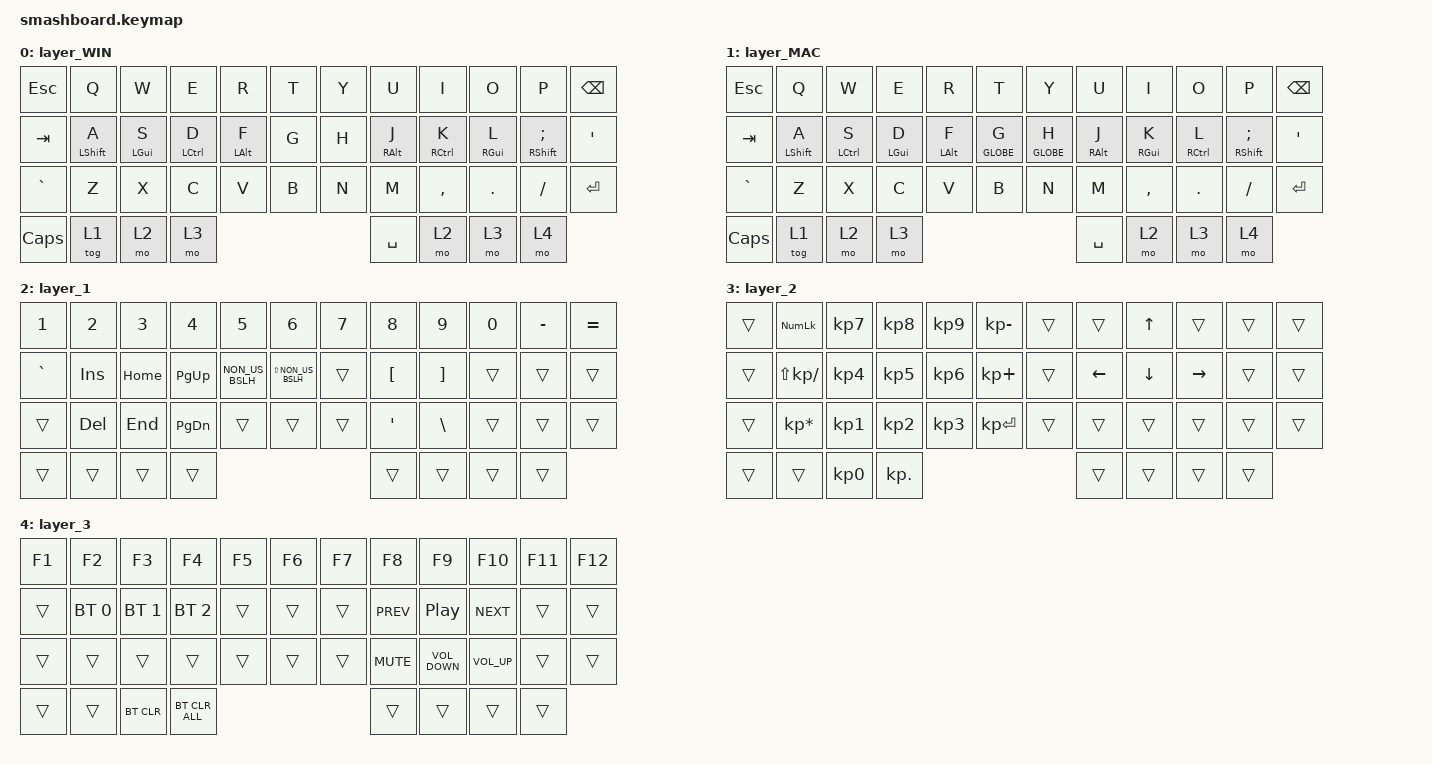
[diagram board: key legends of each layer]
#include <behaviors.dtsi>
#include <dt-bindings/zmk/bt.h>
#include <dt-bindings/zmk/keys.h>

&mt { flavor = "tap-preferred"; };

/ {
    keymap {
        compatible = "zmk,keymap";

        layer_WIN {
            bindings = <
&kp ESC    &kp Q             &kp W           &kp E               &kp R           &kp T    &kp Y  &kp U            &kp I                &kp O            &kp P                 &kp BSPC
&kp TAB    &mt LEFT_SHIFT A  &mt LEFT_GUI S  &mt LEFT_CONTROL D  &mt LEFT_ALT F  &kp G    &kp H  &mt RIGHT_ALT J  &mt RIGHT_CONTROL K  &mt RIGHT_GUI L  &mt RIGHT_SHIFT SEMI  &kp APOS
&kp GRAVE  &kp Z             &kp X           &kp C               &kp V           &kp B    &kp N  &kp M            &kp COMMA            &kp DOT          &kp SLASH             &kp ENTER
&kp CAPS   &tog 1              &mo 2           &mo 3                                               &kp SPACE        &mo 2                &mo 3            &mo 4
            >;
        };

        layer_MAC {
            bindings = <
&kp ESC    &kp Q             &kp W               &kp E           &kp R           &kp T          &kp Y        &kp U            &kp I            &kp O                &kp P                 &kp BSPC
&kp TAB    &mt LEFT_SHIFT A  &mt LEFT_CONTROL S  &mt LEFT_GUI D  &mt LEFT_ALT F  &mt GLOBE G    &mt GLOBE H  &mt RIGHT_ALT J  &mt RIGHT_GUI K  &mt RIGHT_CONTROL L  &mt RIGHT_SHIFT SEMI  &kp APOS
&kp GRAVE  &kp Z             &kp X               &kp C           &kp V           &kp B          &kp N        &kp M            &kp COMMA        &kp DOT              &kp SLASH             &kp ENTER
&kp CAPS   &tog 1            &mo 2               &mo 3                                                       &kp SPACE        &mo 2            &mo 3                &mo 4
            >;
        };

        layer_1 {
            bindings = <
&kp N1     &kp N2      &kp N3    &kp N4         &kp N5           &kp N6                 &kp N7  &kp N8    &kp N9    &kp N0  &kp MINUS  &kp EQUAL
&kp GRAVE  &kp INSERT  &kp HOME  &kp PAGE_UP    &kp NON_US_BSLH  &kp LS(NON_US_BSLH)    &trans  &kp LBKT  &kp RBKT  &trans  &trans     &trans
&trans     &kp DEL     &kp END   &kp PAGE_DOWN  &trans           &trans                 &trans  &kp APOS  &kp BSLH  &trans  &trans     &trans
&trans     &trans      &trans    &trans                                                         &trans    &trans    &trans  &trans
            >;
        };

        layer_2 {
            bindings = <
&trans  &kp KP_NLCK        &kp KP_NUMBER_7  &kp KP_NUMBER_8  &kp KP_NUMBER_9  &kp KP_MINUS    &trans  &trans          &kp UP_ARROW    &trans           &trans  &trans
&trans  &kp LS(KP_DIVIDE)  &kp KP_NUMBER_4  &kp KP_NUMBER_5  &kp KP_NUMBER_6  &kp KP_PLUS     &trans  &kp LEFT_ARROW  &kp DOWN_ARROW  &kp RIGHT_ARROW  &trans  &trans
&trans  &kp KP_MULTIPLY    &kp KP_NUMBER_1  &kp KP_NUMBER_2  &kp KP_NUMBER_3  &kp KP_ENTER    &trans  &trans          &trans          &trans           &trans  &trans
&trans  &trans             &kp KP_N0        &kp KP_DOT                                                &trans          &trans          &trans           &trans
            >;
        };

        layer_3 {
            bindings = <
&kp F1  &kp F2        &kp F3        &kp F4          &kp F5  &kp F6    &kp F7  &kp F8      &kp F9             &kp F10          &kp F11  &kp F12
&trans  &bt BT_SEL 0  &bt BT_SEL 1  &bt BT_SEL 2    &trans  &trans    &trans  &kp C_PREV  &kp C_PLAY_PAUSE   &kp C_NEXT       &trans   &trans
&trans  &trans        &trans        &trans          &trans  &trans    &trans  &kp C_MUTE  &kp C_VOLUME_DOWN  &kp C_VOLUME_UP  &trans   &trans
&trans  &trans        &bt BT_CLR    &bt BT_CLR_ALL                            &trans      &trans             &trans           &trans
            >;
        };
    };
};
